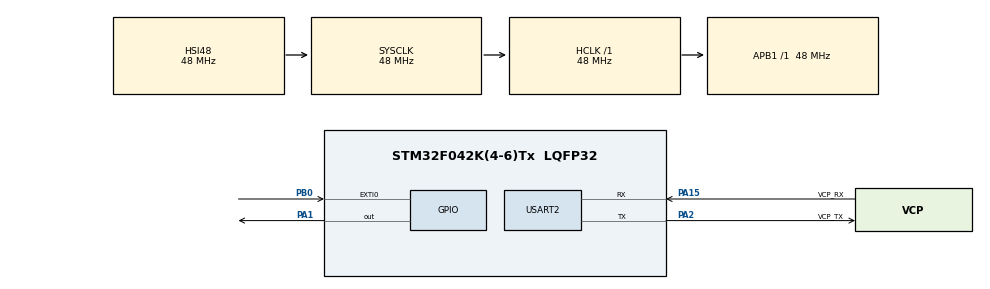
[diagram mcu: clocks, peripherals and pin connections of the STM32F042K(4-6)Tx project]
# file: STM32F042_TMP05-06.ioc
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Mcu.Family=STM32F0
Mcu.Name=STM32F042K(4-6)Tx
Mcu.Package=LQFP32
NVIC.EXTI0_1_IRQn=true\:0\:0\:false\:false\:true\:true\:true
PA1.Signal=GPIO_Output
PA13.GPIO_Label=SWDIO
PA13.Mode=Serial_Wire
PA13.Signal=SYS_SWDIO
PA14.GPIO_Label=SWCLK
PA14.Mode=Serial_Wire
PA14.Signal=SYS_SWCLK
PA15.GPIO_Label=VCP_RX
PA15.Mode=Asynchronous
PA15.Signal=USART2_RX
PA2.GPIO_Label=VCP_TX
PA2.Mode=Asynchronous
PA2.Signal=USART2_TX
PB0.GPIO_ModeDefaultEXTI=GPIO_MODE_IT_RISING_FALLING
PB0.Signal=GPXTI0
PF0-OSC_IN.GPIO_Label=MCO
PF0-OSC_IN.Mode=HSE-External-Clock-Source
PF0-OSC_IN.Signal=RCC_OSC_IN
ProjectManager.HeapSize=0x200
ProjectManager.StackSize=0x400
ProjectManager.TargetToolchain=STM32CubeIDE
RCC.AHBFreq_Value=48000000
RCC.APB1Freq_Value=48000000
RCC.APB1TimFreq_Value=48000000
RCC.HCLKFreq_Value=48000000
RCC.SYSCLKFreq_VALUE=48000000
RCC.SYSCLKSource=RCC_SYSCLKSOURCE_HSI48
TIM1.Period=0xffff-1
TIM1.Prescaler=48-1
TIM2.Period=0xffff-1
TIM2.Prescaler=48-1
TIM3.Period=0xffff-1
TIM3.Prescaler=48-1
USART2.VirtualMode-Asynchronous=VM_ASYNC
VP_TIM1_VS_ClockSourceINT.Mode=Internal
VP_TIM2_VS_ClockSourceINT.Mode=Internal
VP_TIM3_VS_ClockSourceINT.Mode=Internal
board=NUCLEO-F042K6

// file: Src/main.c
/* USER CODE BEGIN Header */
/**
  ******************************************************************************
  * @file           : main.c
  * @brief          : Main program body
  ******************************************************************************
  * @attention
  *
  * <h2><center>&copy; Copyright (c) 2020 STMicroelectronics.
  * All rights reserved.</center></h2>
  *
  * This software component is licensed by ST under BSD 3-Clause license,
  * the "License"; You may not use this file except in compliance with the
  * License. You may obtain a copy of the License at:
  *                        opensource.org/licenses/BSD-3-Clause
  *
  ******************************************************************************
  */
/* USER CODE END Header */
#include "main.h"

/* USER CODE BEGIN PD */
#define TMP_AVERAGE 10
//#define TIME_US 1000000
/* USER CODE END PD */

TIM_HandleTypeDef htim1;
TIM_HandleTypeDef htim2;
TIM_HandleTypeDef htim3;

UART_HandleTypeDef huart2;

/* USER CODE BEGIN PV */
extern int tempsegment;
/* USER CODE END PV */

void SystemClock_Config(void);
static void MX_GPIO_Init(void);
static void MX_USART2_UART_Init(void);
static void MX_TIM1_Init(void);
static void MX_TIM2_Init(void);
static void MX_TIM3_Init(void);
/* USER CODE BEGIN PFP */
void delay_us (uint16_t us);
//void HAL_TIM_IC_CaptureCallback(TIM_HandleTypeDef *htim);
void send_Pulse(GPIO_TypeDef* GPIOx, uint16_t GPIO_Pin);
/* USER CODE END PFP */

/* USER CODE BEGIN 0 */
uint32_t IC_Val1 = 0;
uint32_t IC_Val2 = 0;
uint32_t Difference = 0;
uint8_t Is_First_Captured = 0;

/* USER CODE END 0 */

int main(void)
{
  /* USER CODE BEGIN 1 */
	float temp1=0, temp2=0, temp3=0;
	float t_single=0, t_global=0;
  /* USER CODE END 1 */

  /* MCU Configuration--------------------------------------------------------*/

  /* Reset of all peripherals, Initializes the Flash interface and the Systick. */
  HAL_Init();

  /* USER CODE BEGIN Init */
    //HAL_TIM_Base_Start(&htim1);
  /* USER CODE END Init */

  /* Configure the system clock */
  SystemClock_Config();

  /* Initialize all configured peripherals */
  MX_GPIO_Init();
  MX_USART2_UART_Init();
  MX_TIM1_Init();
  MX_TIM2_Init();
  MX_TIM3_Init();
  /* USER CODE BEGIN 2 */
  // Initialise Daisy-Chain. Set Pin High before pulse
  //and wait for >20ns before setting to LOW.
  HAL_NVIC_DisableIRQ(EXTI0_1_IRQn);
  HAL_GPIO_WritePin(GPIOA, GPIO_PIN_1, GPIO_PIN_RESET);
  // start timers
  HAL_TIM_Base_Start(&htim1);
  HAL_TIM_Base_Start(&htim2);
  HAL_TIM_Base_Start(&htim3);
  HAL_Delay(1);
  // start the IC in interrupt mode
    //HAL_TIM_IC_Start_IT(&htim2, TIM_CHANNEL_1);
    //HAL_TIM_IC_Start_IT(&htim2, TIM_CHANNEL_4);
  /* USER CODE END 2 */

  /* Infinite loop */
  while (1)
  {

    /* USER CODE BEGIN 3 */
	    temp1 = 0, temp2 = 0, temp3 = 0;
        __HAL_TIM_SET_COUNTER(&htim1,0);
		__HAL_TIM_SET_COUNTER(&htim2,0);
		__HAL_TIM_SET_COUNTER(&htim3,0);
		HAL_NVIC_EnableIRQ(EXTI0_1_IRQn);
		for(int i = 0; i < TMP_AVERAGE; i++) {
			tempsegment = 0;
			send_Pulse(GPIOA, GPIO_PIN_1);
			while(tempsegment < 7) {}		// 2 Sensors took 4(5) iterations; 3 Sensors 6(7)
			//Convert variables to floats for calculation
			//T5= temp_high2;
			temp1+=421-(751*((((float)temp_high0)/1000)/(((float)temp_low0)/1000)));
			temp2+=421-(751*((((float)temp_high1)/1000)/(((float)temp_low1)/1000)));
			temp3+=421-(751*((((float)temp_high2)/1000)/(((float)temp_low2)/1000)));
			if(i == 0) t_single = (__HAL_TIM_GET_COUNTER(&htim3))/1000;
		}
		HAL_NVIC_DisableIRQ(EXTI0_1_IRQn);
		t_global = (__HAL_TIM_GET_COUNTER(&htim3))/1000;
		sprintf(msg, "Temp1: %0.4f C ::: Temp2: %0.4f C ::: Temp3: %0.4f C.\n"
				     "After: %3.1f ms and Averaging %.3f s. Sampling: %d\r\n",
				temp1/TMP_AVERAGE, temp2/TMP_AVERAGE, temp3/TMP_AVERAGE,
				t_single, t_global/1000, TMP_AVERAGE);
		HAL_UART_Transmit(&huart2, (uint8_t*)msg,
					 strlen((char*)msg), HAL_MAX_DELAY);

		HAL_Delay(1000);
        //HAL_GPIO_TogglePin(GPIOA, GPIO_PIN_1);
	    //HAL_GPIO_WritePin(GPIOA, GPIO_PIN_1, GPIO_PIN_SET);
	    // Temperature (°C) = 421 − (751 × (TH∕TL))
	    //delay_us(1000);
  }
  /* USER CODE END 3 */
}

void SystemClock_Config(void)
{
  RCC_OscInitTypeDef RCC_OscInitStruct = {0};
  RCC_ClkInitTypeDef RCC_ClkInitStruct = {0};

  /** Initializes the RCC Oscillators according to the specified parameters
  * in the RCC_OscInitTypeDef structure.
  */
  RCC_OscInitStruct.OscillatorType = RCC_OSCILLATORTYPE_HSI48;
  RCC_OscInitStruct.HSI48State = RCC_HSI48_ON;
  RCC_OscInitStruct.PLL.PLLState = RCC_PLL_NONE;
  if (HAL_RCC_OscConfig(&RCC_OscInitStruct) != HAL_OK)
  {
    Error_Handler();
  }
  /** Initializes the CPU, AHB and APB buses clocks
  */
  RCC_ClkInitStruct.ClockType = RCC_CLOCKTYPE_HCLK|RCC_CLOCKTYPE_SYSCLK
                              |RCC_CLOCKTYPE_PCLK1;
  RCC_ClkInitStruct.SYSCLKSource = RCC_SYSCLKSOURCE_HSI48;
  RCC_ClkInitStruct.AHBCLKDivider = RCC_SYSCLK_DIV1;
  RCC_ClkInitStruct.APB1CLKDivider = RCC_HCLK_DIV1;

  if (HAL_RCC_ClockConfig(&RCC_ClkInitStruct, FLASH_LATENCY_1) != HAL_OK)
  {
    Error_Handler();
  }
}

static void MX_TIM1_Init(void)
{

  TIM_ClockConfigTypeDef sClockSourceConfig = {0};
  TIM_MasterConfigTypeDef sMasterConfig = {0};

  htim1.Instance = TIM1;
  htim1.Init.Prescaler = 48-1;
  htim1.Init.CounterMode = TIM_COUNTERMODE_UP;
  htim1.Init.Period = 0xffff-1;
  htim1.Init.ClockDivision = TIM_CLOCKDIVISION_DIV1;
  htim1.Init.RepetitionCounter = 0;
  htim1.Init.AutoReloadPreload = TIM_AUTORELOAD_PRELOAD_DISABLE;
  if (HAL_TIM_Base_Init(&htim1) != HAL_OK)
  {
    Error_Handler();
  }
  sClockSourceConfig.ClockSource = TIM_CLOCKSOURCE_INTERNAL;
  if (HAL_TIM_ConfigClockSource(&htim1, &sClockSourceConfig) != HAL_OK)
  {
    Error_Handler();
  }
  sMasterConfig.MasterOutputTrigger = TIM_TRGO_RESET;
  sMasterConfig.MasterSlaveMode = TIM_MASTERSLAVEMODE_DISABLE;
  if (HAL_TIMEx_MasterConfigSynchronization(&htim1, &sMasterConfig) != HAL_OK)
  {
    Error_Handler();
  }

}

static void MX_TIM2_Init(void)
{

  TIM_ClockConfigTypeDef sClockSourceConfig = {0};
  TIM_MasterConfigTypeDef sMasterConfig = {0};

  htim2.Instance = TIM2;
  htim2.Init.Prescaler = 48-1;
  htim2.Init.CounterMode = TIM_COUNTERMODE_UP;
  htim2.Init.Period = 0xffff-1;
  htim2.Init.ClockDivision = TIM_CLOCKDIVISION_DIV1;
  htim2.Init.AutoReloadPreload = TIM_AUTORELOAD_PRELOAD_DISABLE;
  if (HAL_TIM_Base_Init(&htim2) != HAL_OK)
  {
    Error_Handler();
  }
  sClockSourceConfig.ClockSource = TIM_CLOCKSOURCE_INTERNAL;
  if (HAL_TIM_ConfigClockSource(&htim2, &sClockSourceConfig) != HAL_OK)
  {
    Error_Handler();
  }
  sMasterConfig.MasterOutputTrigger = TIM_TRGO_RESET;
  sMasterConfig.MasterSlaveMode = TIM_MASTERSLAVEMODE_DISABLE;
  if (HAL_TIMEx_MasterConfigSynchronization(&htim2, &sMasterConfig) != HAL_OK)
  {
    Error_Handler();
  }

}

static void MX_TIM3_Init(void)
{

  TIM_ClockConfigTypeDef sClockSourceConfig = {0};
  TIM_MasterConfigTypeDef sMasterConfig = {0};

  htim3.Instance = TIM3;
  htim3.Init.Prescaler = 48-1;
  htim3.Init.CounterMode = TIM_COUNTERMODE_UP;
  htim3.Init.Period = 0xffff-1;
  htim3.Init.ClockDivision = TIM_CLOCKDIVISION_DIV1;
  htim3.Init.AutoReloadPreload = TIM_AUTORELOAD_PRELOAD_DISABLE;
  if (HAL_TIM_Base_Init(&htim3) != HAL_OK)
  {
    Error_Handler();
  }
  sClockSourceConfig.ClockSource = TIM_CLOCKSOURCE_INTERNAL;
  if (HAL_TIM_ConfigClockSource(&htim3, &sClockSourceConfig) != HAL_OK)
  {
    Error_Handler();
  }
  sMasterConfig.MasterOutputTrigger = TIM_TRGO_RESET;
  sMasterConfig.MasterSlaveMode = TIM_MASTERSLAVEMODE_DISABLE;
  if (HAL_TIMEx_MasterConfigSynchronization(&htim3, &sMasterConfig) != HAL_OK)
  {
    Error_Handler();
  }

}

static void MX_USART2_UART_Init(void)
{

  huart2.Instance = USART2;
  huart2.Init.BaudRate = 38400;
  huart2.Init.WordLength = UART_WORDLENGTH_8B;
  huart2.Init.StopBits = UART_STOPBITS_1;
  huart2.Init.Parity = UART_PARITY_NONE;
  huart2.Init.Mode = UART_MODE_TX_RX;
  huart2.Init.HwFlowCtl = UART_HWCONTROL_NONE;
  huart2.Init.OverSampling = UART_OVERSAMPLING_16;
  huart2.Init.OneBitSampling = UART_ONE_BIT_SAMPLE_DISABLE;
  huart2.AdvancedInit.AdvFeatureInit = UART_ADVFEATURE_NO_INIT;
  if (HAL_UART_Init(&huart2) != HAL_OK)
  {
    Error_Handler();
  }

}

static void MX_GPIO_Init(void)
{
  GPIO_InitTypeDef GPIO_InitStruct = {0};

  /* GPIO Ports Clock Enable */
  __HAL_RCC_GPIOF_CLK_ENABLE();
  __HAL_RCC_GPIOA_CLK_ENABLE();
  __HAL_RCC_GPIOB_CLK_ENABLE();

  /*Configure GPIO pin Output Level */
  HAL_GPIO_WritePin(GPIOA, GPIO_PIN_1, GPIO_PIN_RESET);

  /*Configure GPIO pin : PA1 */
  GPIO_InitStruct.Pin = GPIO_PIN_1;
  GPIO_InitStruct.Mode = GPIO_MODE_OUTPUT_PP;
  GPIO_InitStruct.Pull = GPIO_NOPULL;
  GPIO_InitStruct.Speed = GPIO_SPEED_FREQ_LOW;
  HAL_GPIO_Init(GPIOA, &GPIO_InitStruct);

  /*Configure GPIO pin : PB0 */
  GPIO_InitStruct.Pin = GPIO_PIN_0;
  GPIO_InitStruct.Mode = GPIO_MODE_IT_RISING_FALLING;
  GPIO_InitStruct.Pull = GPIO_NOPULL;
  HAL_GPIO_Init(GPIOB, &GPIO_InitStruct);

  /* EXTI interrupt init*/
  HAL_NVIC_SetPriority(EXTI0_1_IRQn, 0, 0);
  HAL_NVIC_EnableIRQ(EXTI0_1_IRQn);

}

/* USER CODE BEGIN 4 */
/*
 * Microseconds delay. With 48MHz  - 1MHz.
 */
void delay_us (uint16_t us) {
	__HAL_TIM_SET_COUNTER(&htim1,0);  // set the counter value a 0
	while (__HAL_TIM_GET_COUNTER(&htim1) < us);  // wait for the counter to reach the us input in the parameter
}
//void HAL_TIM_IC_CaptureCallback(TIM_HandleTypeDef *htim) {
//	// if the interrupt source is channel1
//	if (htim->Channel == HAL_TIM_ACTIVE_CHANNEL_1) {
//		// if the first value is not captured
//		if (Is_First_Captured==0) {
//			IC_Val1 = HAL_TIM_ReadCapturedValue(htim, TIM_CHANNEL_1); // read the first value
//			Is_First_Captured = 1;  // set the first captured as true
//			// Now change the polarity to falling edge
//			__HAL_TIM_SET_CAPTUREPOLARITY(htim, TIM_CHANNEL_1, TIM_INPUTCHANNELPOLARITY_FALLING);
//		}
//		// if the first is already captured
//		else if (Is_First_Captured==1) {
//			IC_Val2 = HAL_TIM_ReadCapturedValue(htim, TIM_CHANNEL_1);  // read second value
//			__HAL_TIM_SET_COUNTER(htim, 0);  // reset the counter
//
//			if (IC_Val2 > IC_Val1) {
//				Difference = IC_Val2-IC_Val1;
//			}
//
//			Is_First_Captured = 0; // set it back to false
//			// set polarity to rising edge
//			__HAL_TIM_SET_CAPTUREPOLARITY(htim, TIM_CHANNEL_1, TIM_INPUTCHANNELPOLARITY_RISING);
//
//		}
//	}
//
//
////	// rising edge interrupt
////	if (htim->Channel == HAL_TIM_ACTIVE_CHANNEL_1) {
////		// read captured value
////		IC_Val1 = HAL_TIM_ReadCapturedValue(htim, TIM_CHANNEL_1);
////
////		// if the value is not 0
////		if (IC_Val1 != 0) {
////			// read second value
////			IC_Val2 = HAL_TIM_ReadCapturedValue(htim, TIM_CHANNEL_4); // falling edge value
////
////			// calculate Duty cycle
////			Duty_Cycle = (IC_Val2*100/IC_Val1);
////
////			// calculate frequency
////			Frequency = (2*HAL_RCC_GetPCLK1Freq()/IC_Val1);
////			// As my timer2 clock is 2X the PCLK1 CLOCK that's why X2.
////			sprintf(msg, "Duty Cycle: %lu.\r\n", Duty_Cycle);
////			HAL_UART_Transmit(&huart2, (uint8_t*)msg,
////						 strlen((char*)msg), HAL_MAX_DELAY);
////		}
////
////		else
////		{
////			Duty_Cycle = 0;
////			Frequency = 0;
////			sprintf(msg, "Reset.\r\n");
////			HAL_UART_Transmit(&huart2, (uint8_t*)msg,
////						 strlen((char*)msg), HAL_MAX_DELAY);
////		}
////	}
//}

/*
 * Datasheet claims that in daisy chain the pulse have to be from Low to High.
 * Withing time 20nS > delay > 25us.
 */
void send_Pulse(GPIO_TypeDef* GPIOx, uint16_t GPIO_Pin) {
	// Initial State High.
//	HAL_GPIO_WritePin(GPIOx, GPIO_Pin, GPIO_PIN_SET);
//	// Wait for more than 20nS.
//	delay_us(1);
	// Send Pulse
	HAL_GPIO_WritePin(GPIOx, GPIO_Pin, GPIO_PIN_SET);
	delay_us(2);
	HAL_GPIO_WritePin(GPIOx, GPIO_Pin, GPIO_PIN_RESET);
}
/* USER CODE END 4 */

void Error_Handler(void)
{
}

/************************ (C) COPYRIGHT STMicroelectronics *****END OF FILE****/
